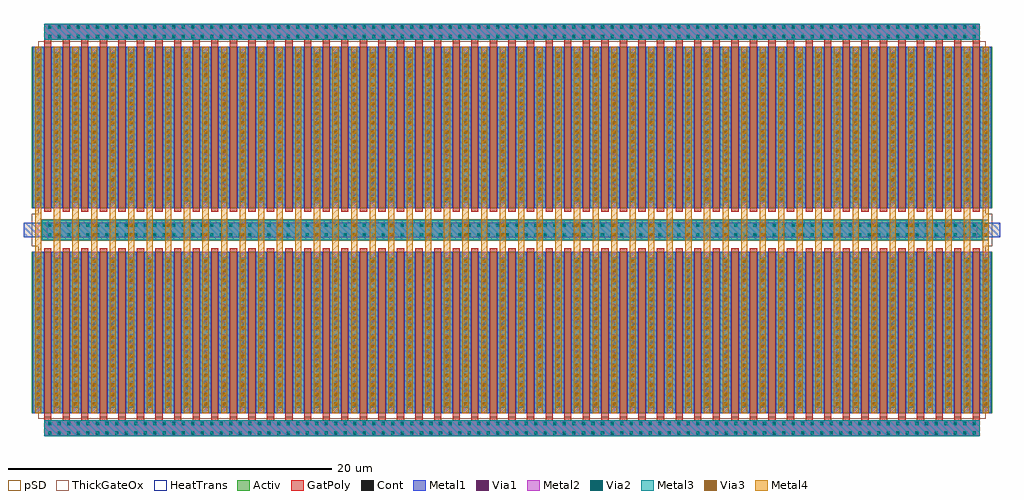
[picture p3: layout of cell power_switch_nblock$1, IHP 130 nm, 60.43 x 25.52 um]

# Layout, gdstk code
from math import pi, radians
import gdstk
lib = gdstk.Library(unit=1e-6, precision=5e-09)
def R(c, l, rs):  # rectangles x0, y0, x1, y1
    for r in rs: c.add(gdstk.rectangle(r[:2], r[2:], *l))
def A(c, l, x, y, w, h, nx, ny, dx, dy):  # array of equal rectangles
    R(c, l, [(x+i*dx, y+j*dy, x+i*dx+w, y+j*dy+h) for i in range(nx) for j in range(ny)])
Activ = (1, 0)
GatPoly = (5, 0)
Cont = (6, 0)
Metal1 = (8, 0)
Metal2 = (10, 0)
pSD = (14, 0)
Via1 = (19, 0)
Via2 = (29, 0)
Metal3 = (30, 0)
ThickGateOx = (44, 0)
Via3 = (49, 0)
Metal4 = (50, 0)
HeatTrans = (51, 0)

via_array_cda5390a_1 = lib.new_cell('via_array_cda5390a$1')
R(via_array_cda5390a_1, Metal2, [(-0.19,-5,0.19,5)])
A(via_array_cda5390a_1, Via2, -0.095, -4.52, 0.19, 0.19, 1, 16, 0, 0.59)
R(via_array_cda5390a_1, Metal3, [(-0.19,-4.615,0.19,4.615)])
A(via_array_cda5390a_1, Via3, -0.095, -4.52, 0.19, 0.19, 1, 16, 0, 0.59)
R(via_array_cda5390a_1, Metal4, [(-0.19,-5,0.19,5)])

power_switch_nfingers_1 = lib.new_cell('power_switch_nfingers$1')
R(power_switch_nfingers_1, Activ, [(-29.745,-5.255,29.745,4.745)])
A(power_switch_nfingers_1, GatPoly, -28.975, -5.695, 0.45, 0.21, 51, 1, 1.15, 0)
A(power_switch_nfingers_1, GatPoly, -28.975, -5.485, 0.45, 10.46, 51, 1, 1.15, 0)
R(power_switch_nfingers_1, GatPoly, [(-28.975,-6.665,28.975,-5.695)])
A(power_switch_nfingers_1, Cont, -28.695, -6.555, 0.16, 0.16, 98, 2, 0.59, 0.59)
A(power_switch_nfingers_1, Cont, -29.405, -4.835, 0.16, 0.16, 52, 26, 1.15, 0.36)
A(power_switch_nfingers_1, Metal1, -29.675, -5.255, 0.7, 10, 52, 1, 1.15, 0)
R(power_switch_nfingers_1, Metal1, [(-28.975,-6.665,28.975,-5.695)])
A(power_switch_nfingers_1, Metal2, -29.515, -5.255, 0.38, 10, 52, 1, 1.15, 0)
R(power_switch_nfingers_1, Metal2, [(-28.975,-6.665,28.975,-5.695)])
A(power_switch_nfingers_1, Via1, -28.71, -6.57, 0.19, 0.19, 98, 2, 0.59, 0.59)
A(power_switch_nfingers_1, Via1, -29.42, -4.91, 0.19, 0.19, 52, 20, 1.15, 0.48)
A(power_switch_nfingers_1, Via2, -28.71, -6.57, 0.19, 0.19, 98, 2, 0.59, 0.59)
R(power_switch_nfingers_1, Metal3, [(-28.975,-6.665,28.975,-5.695)])
R(power_switch_nfingers_1, ThickGateOx, [(-29.325,-5.605,29.325,5.095)])
A(power_switch_nfingers_1, HeatTrans, -28.975, -5.485, 0.45, 10.46, 51, 1, 1.15, 0)
R(power_switch_nfingers_1, HeatTrans, [(-28.975,-6.665,28.975,-5.695)])
power_switch_nfingers_1.add(gdstk.Reference(via_array_cda5390a_1, (-28.175,-0.255)))
power_switch_nfingers_1.add(gdstk.Reference(via_array_cda5390a_1, (29.325,-0.255)))
power_switch_nfingers_1.add(gdstk.Reference(via_array_cda5390a_1, (28.175,-0.255)))
power_switch_nfingers_1.add(gdstk.Reference(via_array_cda5390a_1, (27.025,-0.255)))
power_switch_nfingers_1.add(gdstk.Reference(via_array_cda5390a_1, (25.875,-0.255)))
power_switch_nfingers_1.add(gdstk.Reference(via_array_cda5390a_1, (24.725,-0.255)))
power_switch_nfingers_1.add(gdstk.Reference(via_array_cda5390a_1, (23.575,-0.255)))
power_switch_nfingers_1.add(gdstk.Reference(via_array_cda5390a_1, (22.425,-0.255)))
power_switch_nfingers_1.add(gdstk.Reference(via_array_cda5390a_1, (21.275,-0.255)))
power_switch_nfingers_1.add(gdstk.Reference(via_array_cda5390a_1, (20.125,-0.255)))
power_switch_nfingers_1.add(gdstk.Reference(via_array_cda5390a_1, (18.975,-0.255)))
power_switch_nfingers_1.add(gdstk.Reference(via_array_cda5390a_1, (17.825,-0.255)))
power_switch_nfingers_1.add(gdstk.Reference(via_array_cda5390a_1, (16.675,-0.255)))
power_switch_nfingers_1.add(gdstk.Reference(via_array_cda5390a_1, (15.525,-0.255)))
power_switch_nfingers_1.add(gdstk.Reference(via_array_cda5390a_1, (14.375,-0.255)))
power_switch_nfingers_1.add(gdstk.Reference(via_array_cda5390a_1, (13.225,-0.255)))
power_switch_nfingers_1.add(gdstk.Reference(via_array_cda5390a_1, (12.075,-0.255)))
power_switch_nfingers_1.add(gdstk.Reference(via_array_cda5390a_1, (10.925,-0.255)))
power_switch_nfingers_1.add(gdstk.Reference(via_array_cda5390a_1, (9.775,-0.255)))
power_switch_nfingers_1.add(gdstk.Reference(via_array_cda5390a_1, (8.625,-0.255)))
power_switch_nfingers_1.add(gdstk.Reference(via_array_cda5390a_1, (7.475,-0.255)))
power_switch_nfingers_1.add(gdstk.Reference(via_array_cda5390a_1, (6.325,-0.255)))
power_switch_nfingers_1.add(gdstk.Reference(via_array_cda5390a_1, (5.175,-0.255)))
power_switch_nfingers_1.add(gdstk.Reference(via_array_cda5390a_1, (4.025,-0.255)))
power_switch_nfingers_1.add(gdstk.Reference(via_array_cda5390a_1, (2.875,-0.255)))
power_switch_nfingers_1.add(gdstk.Reference(via_array_cda5390a_1, (1.725,-0.255)))
power_switch_nfingers_1.add(gdstk.Reference(via_array_cda5390a_1, (0.575,-0.255)))
power_switch_nfingers_1.add(gdstk.Reference(via_array_cda5390a_1, (-0.575,-0.255)))
power_switch_nfingers_1.add(gdstk.Reference(via_array_cda5390a_1, (-1.725,-0.255)))
power_switch_nfingers_1.add(gdstk.Reference(via_array_cda5390a_1, (-2.875,-0.255)))
power_switch_nfingers_1.add(gdstk.Reference(via_array_cda5390a_1, (-4.025,-0.255)))
power_switch_nfingers_1.add(gdstk.Reference(via_array_cda5390a_1, (-5.175,-0.255)))
power_switch_nfingers_1.add(gdstk.Reference(via_array_cda5390a_1, (-6.325,-0.255)))
power_switch_nfingers_1.add(gdstk.Reference(via_array_cda5390a_1, (-7.475,-0.255)))
power_switch_nfingers_1.add(gdstk.Reference(via_array_cda5390a_1, (-8.625,-0.255)))
power_switch_nfingers_1.add(gdstk.Reference(via_array_cda5390a_1, (-9.775,-0.255)))
power_switch_nfingers_1.add(gdstk.Reference(via_array_cda5390a_1, (-10.925,-0.255)))
power_switch_nfingers_1.add(gdstk.Reference(via_array_cda5390a_1, (-12.075,-0.255)))
power_switch_nfingers_1.add(gdstk.Reference(via_array_cda5390a_1, (-13.225,-0.255)))
power_switch_nfingers_1.add(gdstk.Reference(via_array_cda5390a_1, (-14.375,-0.255)))
power_switch_nfingers_1.add(gdstk.Reference(via_array_cda5390a_1, (-15.525,-0.255)))
power_switch_nfingers_1.add(gdstk.Reference(via_array_cda5390a_1, (-16.675,-0.255)))
power_switch_nfingers_1.add(gdstk.Reference(via_array_cda5390a_1, (-17.825,-0.255)))
power_switch_nfingers_1.add(gdstk.Reference(via_array_cda5390a_1, (-18.975,-0.255)))
power_switch_nfingers_1.add(gdstk.Reference(via_array_cda5390a_1, (-20.125,-0.255)))
power_switch_nfingers_1.add(gdstk.Reference(via_array_cda5390a_1, (-21.275,-0.255)))
power_switch_nfingers_1.add(gdstk.Reference(via_array_cda5390a_1, (-22.425,-0.255)))
power_switch_nfingers_1.add(gdstk.Reference(via_array_cda5390a_1, (-23.575,-0.255)))
power_switch_nfingers_1.add(gdstk.Reference(via_array_cda5390a_1, (-24.725,-0.255)))
power_switch_nfingers_1.add(gdstk.Reference(via_array_cda5390a_1, (-25.875,-0.255)))
power_switch_nfingers_1.add(gdstk.Reference(via_array_cda5390a_1, (-27.025,-0.255)))
power_switch_nfingers_1.add(gdstk.Reference(via_array_cda5390a_1, (-29.325,-0.255)))

unnamed_45933b9e_1 = lib.new_cell('Unnamed_45933b9e$1')
A(unnamed_45933b9e_1, Activ, -28.79, -0.47, 0.35, 0.35, 98, 2, 0.59, 0.59)
R(unnamed_45933b9e_1, Activ, [(-29.125,-0.65,29.125,0.65), (-29.125,-0.65,29.125,0.65)])
A(unnamed_45933b9e_1, Cont, -28.695, -0.375, 0.16, 0.16, 98, 2, 0.59, 0.59)
A(unnamed_45933b9e_1, Metal1, -28.765, -0.445, 0.3, 0.3, 98, 2, 0.59, 0.59)
R(unnamed_45933b9e_1, Metal1, [(-30.215,-0.445,30.215,0.445)])
A(unnamed_45933b9e_1, Metal2, -28.805, -0.485, 0.38, 0.38, 98, 2, 0.59, 0.59)
R(unnamed_45933b9e_1, Metal2, [(-28.805,-0.485,28.805,0.485)])
R(unnamed_45933b9e_1, pSD, [(-29.155,-0.68,29.155,0.68)])
A(unnamed_45933b9e_1, Via1, -28.71, -0.39, 0.19, 0.19, 98, 2, 0.59, 0.59)
A(unnamed_45933b9e_1, Via2, -28.71, -0.39, 0.19, 0.19, 98, 2, 0.59, 0.59)
A(unnamed_45933b9e_1, Metal3, -28.805, -0.485, 0.38, 0.38, 98, 2, 0.59, 0.59)
R(unnamed_45933b9e_1, Metal3, [(-29.125,-0.65,29.125,0.65)])
R(unnamed_45933b9e_1, ThickGateOx, [(-29.745,-1,29.745,1)])

via_m3m4_1x2_1 = lib.new_cell('via_m3m4_1x2$1')
R(via_m3m4_1x2_1, Via3, [(-28.27,-0.39,-28.08,-0.2), (-28.27,0.2,-28.08,0.39)])
R(via_m3m4_1x2_1, Metal4, [(-29.515,-1.35,-29.135,1.35), (-28.365,-1.35,-27.985,1.35)])

power_switch_nblock_1 = lib.new_cell('power_switch_nblock$1')
R(power_switch_nblock_1, Metal3, [(29.125,-0.65,29.515,0.65)])
power_switch_nblock_1.add(gdstk.Reference(power_switch_nfingers_1, (0,6.095), rotation=pi))
power_switch_nblock_1.add(gdstk.Reference(power_switch_nfingers_1, (0,-6.095)))
power_switch_nblock_1.add(gdstk.Reference(unnamed_45933b9e_1, (0,0)))
r = gdstk.Reference(via_m3m4_1x2_1, (0,0)); r.repetition = gdstk.Repetition(26, 1, v1=(2.3,0), v2=(0,0)); power_switch_nblock_1.add(r)

lib.write_gds('power_switch_nblock_1.gds')
